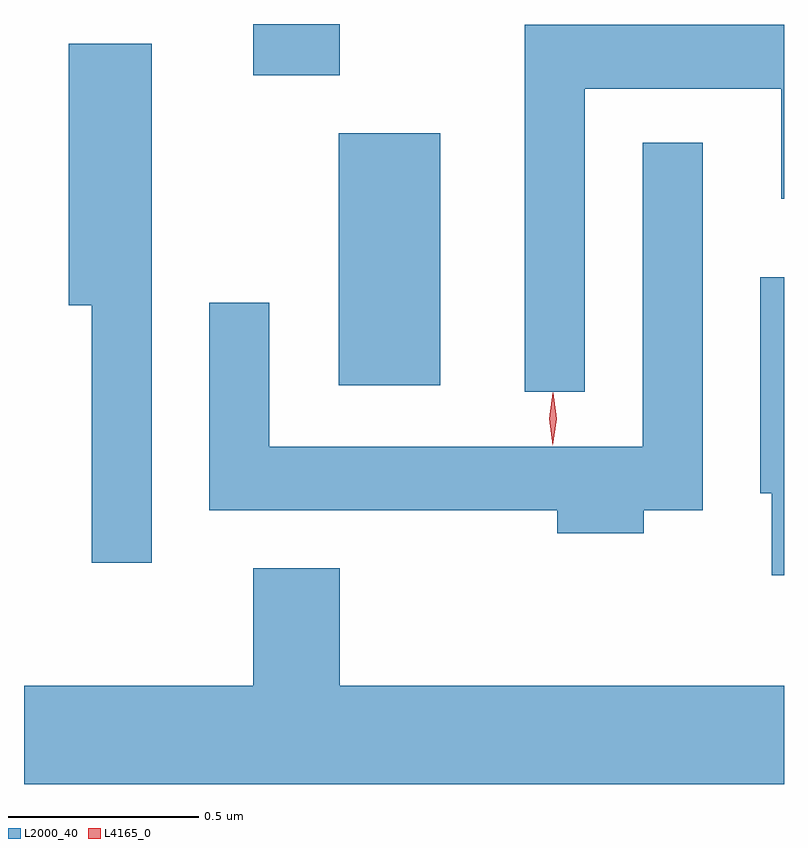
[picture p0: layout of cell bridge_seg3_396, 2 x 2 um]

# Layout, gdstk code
import gdstk
lib = gdstk.Library(unit=1e-6, precision=1e-09)
def R(c, l, rs):  # rectangles x0, y0, x1, y1
    for r in rs: c.add(gdstk.rectangle(r[:2], r[2:], *l))
def P(c, l, *ps):  # polygons
    for p in ps: c.add(gdstk.Polygon(p, *l))
L2000_40 = (2000, 40)
L4165_0 = (4165, 0)

bridge_seg3_396 = lib.new_cell('bridge_seg3_396')
R(bridge_seg3_396, L2000_40, [(546.786,1202.556,547.054,1203.219), (546.561,1203.371,546.789,1203.506)])
P(bridge_seg3_396, L2000_40, [(547.434,1203.336),(547.951,1203.336),(547.951,1203.046),(547.958,1203.046),(547.958,1203.504),(547.276,1203.504),(547.276,1202.538),(547.434,1202.538)],
  [(546.294,1203.454),(546.076,1203.454),(546.076,1202.766),(546.136,1202.766),(546.136,1202.088),(546.294,1202.088)],
  [(547.589,1202.226),(547.744,1202.226),(547.744,1203.193),(547.586,1203.193),(547.586,1202.394),(546.604,1202.394),(546.604,1202.773),(546.446,1202.773),(546.446,1202.226),(547.361,1202.226),(547.361,1202.166),(547.589,1202.166)],
  [(547.958,1202.839),(547.896,1202.839),(547.896,1202.271),(547.926,1202.271),(547.926,1202.056),(547.958,1202.056)],
  [(547.958,1201.764),(546.789,1201.764),(546.789,1202.074),(546.561,1202.074),(546.561,1201.764),(545.958,1201.764),(545.958,1201.506),(547.958,1201.506)])
P(bridge_seg3_396, L4165_0, [(547.35,1202.397),(547.349,1202.398),(547.34,1202.467),(547.35,1202.536),(547.35,1202.536),(547.351,1202.536),(547.36,1202.467),(547.35,1202.398)])

lib.write_gds('bridge_seg3_396.gds')
